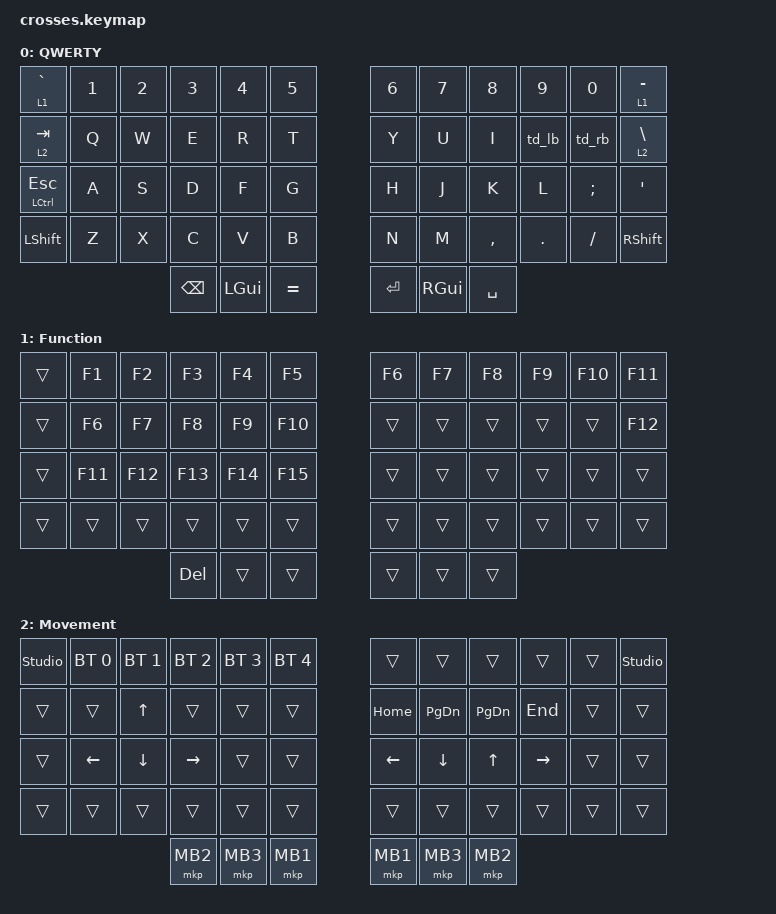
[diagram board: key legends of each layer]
#include <behaviors.dtsi>
#include <dt-bindings/zmk/bt.h>
#include <dt-bindings/zmk/keys.h>
#include <dt-bindings/zmk/pointing.h>

/ {
    chosen { zmk,physical-layout = &gggw_crosses_54_layout; };

    behaviors {
        td_lb: tap_dance_lb {
            compatible = "zmk,behavior-tap-dance";
            #binding-cells = <0>;
            tapping-term-ms = <200>;
            bindings = <&kp O>, <&kp LBKT>;
        };
        td_rb: tap_dance_rb {
            compatible = "zmk,behavior-tap-dance";
            #binding-cells = <0>;
            tapping-term-ms = <200>;
            bindings = <&kp P>, <&kp RBKT>;
        };
    };

    keymap {
        compatible = "zmk,keymap";
        default_layer {
            display-name = "QWERTY";
            bindings = <
                &lt 1 GRAVE   &kp N1 &kp N2 &kp N3   &kp N4   &kp N5       &kp N6  &kp N7   &kp N8    &kp N9  &kp N0   &lt 1 MINUS
                &lt 2 TAB     &kp Q  &kp W  &kp E    &kp R    &kp T        &kp Y   &kp U    &kp I     &td_lb  &td_rb   &lt 2 BSLH
                &mt LCTRL ESC &kp A  &kp S  &kp D    &kp F    &kp G        &kp H   &kp J    &kp K     &kp L   &kp SEMI &kp SQT
                &kp LSHFT     &kp Z  &kp X  &kp C    &kp V    &kp B        &kp N   &kp M    &kp COMMA &kp DOT &kp FSLH &kp RSHFT
                                            &kp BSPC &kp LGUI &kp EQUAL    &kp RET &kp RGUI &kp SPACE
            >;
        };

        fkeys_layer {
            display-name = "Function";
            bindings = <
                &trans &kp F1  &kp F2  &kp F3  &kp F4  &kp F5    &kp F6 &kp F7 &kp F8 &kp F9 &kp F10 &kp F11
                &trans &kp F6  &kp F7  &kp F8  &kp F9  &kp F10   &trans &trans &trans &trans &trans  &kp F12
                &trans &kp F11 &kp F12 &kp F13 &kp F14 &kp F15   &trans &trans &trans &trans &trans  &trans
                &trans &trans  &trans  &trans  &trans  &trans    &trans &trans &trans &trans &trans  &trans
                                       &kp DEL &trans  &trans    &trans &trans &trans

            >;
        };

        move_layer {
            display-name = "Movement";
            bindings = <
                &studio_unlock &bt BT_SEL 0 &bt BT_SEL 1 &bt BT_SEL 2 &bt BT_SEL 3 &bt BT_SEL 4 &trans       &trans     &trans       &trans       &trans       &studio_unlock
                &trans         &trans       &kp UP       &trans       &trans       &trans       &kp HOME     &kp PG_DN  &kp PG_DN    &kp END      &trans       &trans
                &trans         &kp LEFT     &kp DOWN     &kp RIGHT    &trans       &trans       &kp LEFT     &kp DOWN   &kp UP       &kp RIGHT    &trans       &trans
                &trans         &trans       &trans       &trans       &trans       &trans       &trans       &trans     &trans       &trans       &trans       &trans
                                                         &mkp MB2     &mkp MB3     &mkp MB1     &mkp MB1     &mkp MB3   &mkp MB2
            >;
        };
    };
};
